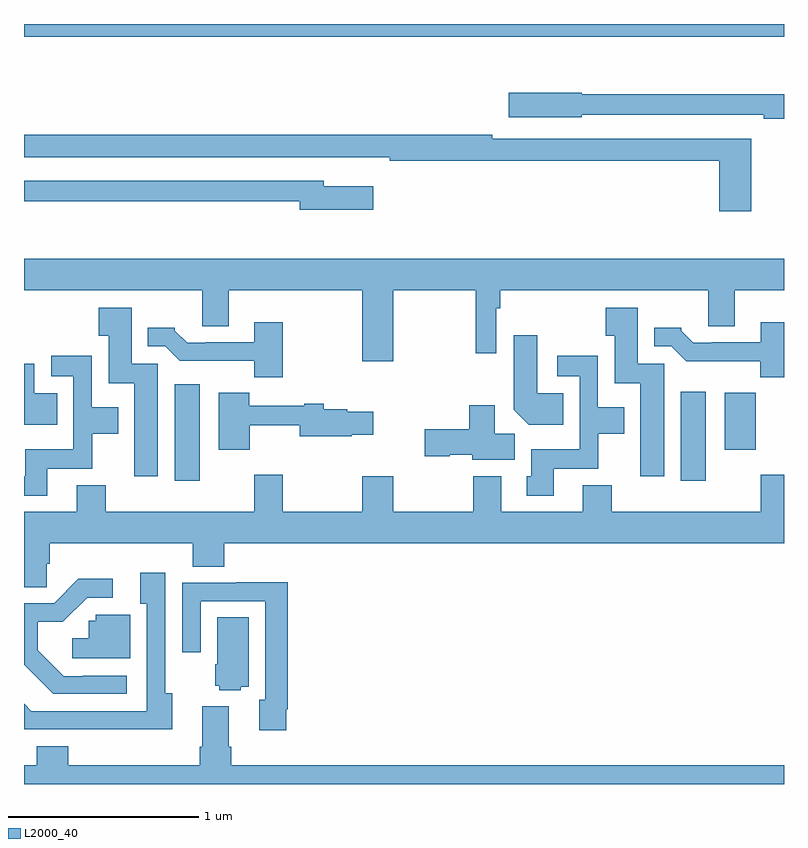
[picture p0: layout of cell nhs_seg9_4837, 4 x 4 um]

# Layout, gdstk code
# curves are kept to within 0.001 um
import gdstk
lib = gdstk.Library(unit=1e-6, precision=1e-09)
def R(c, l, rs):  # rectangles x0, y0, x1, y1
    for r in rs: c.add(gdstk.rectangle(r[:2], r[2:], *l))
def P(c, l, *ps):  # polygons
    for p in ps: c.add(gdstk.Polygon(p, *l))
L2000_40 = (2000, 40)

nhs_seg9_4837 = lib.new_cell('nhs_seg9_4837')
R(nhs_seg9_4837, L2000_40, [(391.793,1182.096,391.924,1182.604), (394.457,1182.096,394.588,1182.565), (391,1184.432,395,1184.5)])
P(nhs_seg9_4837, L2000_40, [(395,1184.131),(393.936,1184.131),(393.936,1184.139),(393.552,1184.139),(393.552,1184.009),(393.936,1184.009),(393.936,1184.022),(394.894,1184.022),(394.894,1184.002),(395,1184.002)],
  [(394.828,1183.896),(393.464,1183.896),(393.464,1183.916),(391,1183.916),(391,1183.8),(392.674,1183.8),(392.674,1183.799),(392.926,1183.799),(392.926,1183.78),(394.658,1183.78),(394.658,1183.515),(394.828,1183.515)],
  [(392.839,1183.645),(392.578,1183.645),(392.578,1183.674),(391,1183.674),(391,1183.566),(392.45,1183.566),(392.45,1183.523),(392.839,1183.523)],
  [(391,1183.1),(391.937,1183.1),(391.937,1182.91),(392.077,1182.91),(392.077,1183.1),(392.78,1183.1),(392.78,1182.726),(392.944,1182.726),(392.944,1183.1),(393.378,1183.1),(393.378,1182.768),(393.486,1182.768),(393.486,1183.004),(393.506,1183.004),(393.506,1183.1),(394.601,1183.1),(394.601,1182.91),(394.741,1182.91),(394.741,1183.1),(395,1183.1),(395,1183.264),(391,1183.264)],
  [(391.705,1182.711),(391.567,1182.711),(391.567,1183.006),(391.394,1183.006),(391.394,1182.859),(391.445,1182.859),(391.445,1182.608),(391.58,1182.608),(391.58,1182.12),(391.705,1182.12)],
  [(394.369,1182.711),(394.231,1182.711),(394.231,1183.006),(394.063,1183.006),(394.063,1182.859),(394.109,1182.859),(394.109,1182.608),(394.244,1182.608),(394.244,1182.12),(394.369,1182.12)],
  [(395,1182.931),(394.877,1182.931),(394.877,1182.825),(394.621,1182.825),(394.621,1182.822),(394.522,1182.822),(394.458,1182.886),(394.458,1182.901),(394.316,1182.901),(394.316,1182.804),(394.407,1182.804),(394.486,1182.726),(394.875,1182.726),(394.875,1182.641),(395,1182.641)],
  [(392.361,1182.931),(392.213,1182.931),(392.213,1182.825),(391.957,1182.825),(391.957,1182.822),(391.858,1182.822),(391.794,1182.886),(391.794,1182.901),(391.652,1182.901),(391.652,1182.804),(391.743,1182.804),(391.819,1182.728),(392.211,1182.728),(392.211,1182.641),(392.361,1182.641)],
  [(393.839,1182.556),(393.7,1182.556),(393.7,1182.862),(393.578,1182.862),(393.578,1182.47),(393.656,1182.392),(393.839,1182.392)],
  [(393.787,1182.158),(394.023,1182.158),(394.023,1182.344),(394.159,1182.344),(394.159,1182.484),(394.02,1182.484),(394.02,1182.754),(393.807,1182.754),(393.807,1182.645),(393.924,1182.645),(393.924,1182.262),(393.671,1182.262),(393.671,1182.12),(393.647,1182.12),(393.647,1182.018),(393.787,1182.018)],
  [(391.123,1182.158),(391.359,1182.158),(391.359,1182.344),(391.495,1182.344),(391.495,1182.484),(391.356,1182.484),(391.356,1182.754),(391.143,1182.754),(391.143,1182.645),(391.26,1182.645),(391.26,1182.262),(391.007,1182.262),(391.007,1182.12),(391,1182.12),(391,1182.018),(391.123,1182.018)],
  [(391.175,1182.556),(391.054,1182.556),(391.054,1182.713),(391,1182.713),(391,1182.392),(391.175,1182.392)],
  [(394.852,1182.411),(394.85,1182.411),(394.85,1182.559),(394.688,1182.559),(394.688,1182.258),(394.852,1182.258)],
  [(392.188,1182.388),(392.45,1182.388),(392.45,1182.331),(392.726,1182.331),(392.726,1182.338),(392.839,1182.338),(392.839,1182.46),(392.7,1182.46),(392.7,1182.473),(392.578,1182.473),(392.578,1182.502),(392.474,1182.502),(392.474,1182.49),(392.186,1182.49),(392.186,1182.559),(392.024,1182.559),(392.024,1182.258),(392.188,1182.258)],
  [(393.583,1182.344),(393.478,1182.344),(393.478,1182.493),(393.344,1182.493),(393.344,1182.368),(393.108,1182.368),(393.108,1182.226),(393.24,1182.226),(393.24,1182.233),(393.36,1182.233),(393.36,1182.206),(393.583,1182.206)],
  [(391.121,1181.658),(391.136,1181.658),(391.136,1181.768),(391.889,1181.768),(391.889,1181.644),(392.054,1181.644),(392.054,1181.768),(395,1181.768),(395,1182.127),(394.877,1182.127),(394.877,1181.932),(394.094,1181.932),(394.094,1182.073),(393.941,1182.073),(393.941,1181.932),(393.511,1181.932),(393.511,1182.121),(393.364,1182.121),(393.364,1181.932),(392.944,1181.932),(392.944,1182.121),(392.78,1182.121),(392.78,1181.932),(392.361,1181.932),(392.361,1182.127),(392.213,1182.127),(392.213,1181.932),(391.43,1181.932),(391.43,1182.073),(391.277,1182.073),(391.277,1181.932),(391,1181.932),(391,1181.536),(391.121,1181.536)],
  [(391.78,1180.978),(391.743,1180.978),(391.743,1181.611),(391.613,1181.611),(391.613,1181.45),(391.647,1181.45),(391.647,1180.884),(391.038,1180.884),(391,1180.922),(391,1180.788),(391.78,1180.787)],
  [(391.54,1181.07),(391.309,1181.07),(391.309,1181.067),(391.209,1181.067),(391.072,1181.204),(391.072,1181.354),(391.205,1181.354),(391.332,1181.481),(391.468,1181.481),(391.468,1181.579),(391.286,1181.579),(391.158,1181.451),(391,1181.451),(391,1181.128),(391.154,1180.974),(391.54,1180.974)],
  [(392.38,1180.894),(392.387,1180.894),(392.387,1181.563),(392.117,1181.563),(392.117,1181.559),(391.833,1181.559),(391.833,1181.193),(391.929,1181.193),(391.929,1181.463),(392.271,1181.463),(392.271,1180.943),(392.237,1180.943),(392.237,1180.782),(392.38,1180.782)],
  [(391.558,1181.391),(391.377,1181.391),(391.377,1181.358),(391.341,1181.358),(391.341,1181.266),(391.254,1181.266),(391.254,1181.163),(391.558,1181.163)],
  [(392.142,1181.012),(392.182,1181.012),(392.182,1181.378),(392.018,1181.378),(392.018,1181.13),(392.006,1181.13),(392.006,1181.016),(392.028,1181.016),(392.028,1180.994),(392.142,1180.994)],
  [(395,1180.6),(392.09,1180.6),(392.09,1180.696),(392.077,1180.696),(392.077,1180.909),(391.937,1180.909),(391.937,1180.696),(391.925,1180.696),(391.925,1180.6),(391.232,1180.6),(391.232,1180.699),(391.067,1180.699),(391.067,1180.6),(391,1180.6),(391,1180.5),(395,1180.5)])

lib.write_gds('nhs_seg9_4837.gds')
